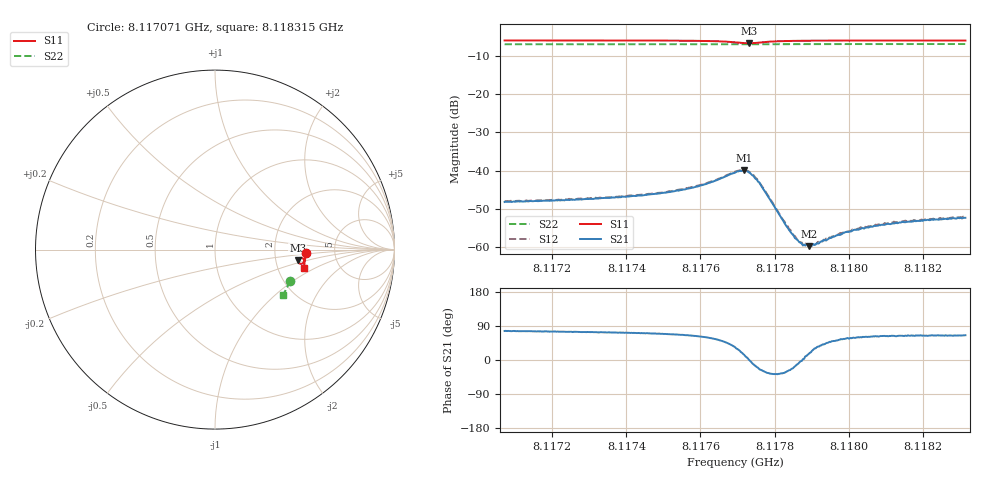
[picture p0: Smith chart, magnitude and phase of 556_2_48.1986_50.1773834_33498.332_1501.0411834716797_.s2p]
#  HZ  S  RI  R  50.00
! Rohde & Schwarz Vector Network Analyzer
! Rohde-Schwarz,ZNB20-2Port,1311601062101988,3.16
! Created: UTC 3/20/2024, 12:00:59 PM
! freq[Hz]  re:S11  im:S11  re:S21  im:S21  re:S12  im:S12  re:S22  im:S22
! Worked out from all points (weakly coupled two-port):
!   401 points, 8.117071 GHz to 8.118315 GHz, reference 50 ohm
!   highest |S21| = -39.96 dB at 8.117718 GHz (marker M1); lowest = -59.8 dB at 8.117892 GHz (marker M2)
!   lowest |S11| = -6.7 dB at 8.117731 GHz (marker M3), VSWR 2.74, Z = 133 - j20.2 ohm
!   |S11| at or under -10 dB: nowhere
!   |S22| runs from -6.9 to -6.8 dB; largest |S21 - S12| = 0.00041
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8.1170713e9  0.5062 -0.0209  0.000901 0.00377  0.000963 0.00386  0.4169 -0.1733
8.1172796e9  0.5047 -0.0378  0.00117 0.00401  0.00119 0.0041  0.4117 -0.1868
8.1173636e9  0.5038 -0.0451  0.00134 0.00422  0.00141 0.00426  0.4096 -0.1924
8.117488e9  0.5014 -0.0567  0.00174 0.0047  0.00185 0.00475  0.406 -0.2003
8.1175906e9  0.4966 -0.0687  0.00282 0.00549  0.00293 0.00559  0.4029 -0.207
8.1176372e9  0.4907 -0.0755  0.00408 0.00602  0.00423 0.0061  0.4012 -0.2099
8.1176932e9  0.4723 -0.0787  0.00776 0.00525  0.00807 0.00533  0.3985 -0.2134
8.1177181e9  0.4619 -0.0683  0.00977 0.00235  0.00985 0.00242  0.3978 -0.2142
8.1177305e9  0.4612 -0.0594  0.00947 0.000166  0.00972 0.000245  0.3973 -0.2145
8.1177461e9  0.4664 -0.0499  0.00786 -0.00193  0.00811 -0.00198  0.3972 -0.215
8.1177585e9  0.4731 -0.046  0.00643 -0.00284  0.00644 -0.00278  0.3972 -0.2157
8.1178269e9  0.4948 -0.0549  0.00171 -0.00113  0.00179 -0.00118  0.3961 -0.2204
8.1178518e9  0.497 -0.0595  0.00132 -0.000472  0.00131 -0.00047  0.3953 -0.2221
8.1178704e9  0.4979 -0.0625  0.00113 -6.63e-05  0.00113 -9.87e-05  0.3947 -0.2235
8.1178798e9  0.4982 -0.0639  0.00107 5.92e-05  0.00111 8.36e-05  0.3945 -0.224
8.1178922e9  0.4984 -0.0657  0.000982 0.000282  0.00102 0.0003  0.3939 -0.2248
8.1179015e9  0.4987 -0.0669  0.000944 0.000436  0.000985 0.000474  0.3937 -0.2255
8.1179917e9  0.4988 -0.0773  0.000872 0.0013  0.000887 0.00132  0.391 -0.2311
8.1180384e9  0.4984 -0.0818  0.000855 0.00155  0.000878 0.00153  0.3892 -0.2342
8.1181099e9  0.4976 -0.0884  0.000891 0.00179  0.000956 0.00182  0.3867 -0.2386
8.1182094e9  0.4961 -0.0967  0.000971 0.00202  0.000974 0.00204  0.3834 -0.2446
8.1183151e9  0.4945 -0.1052  0.001 0.00219  0.00107 0.00225  0.3795 -0.251
